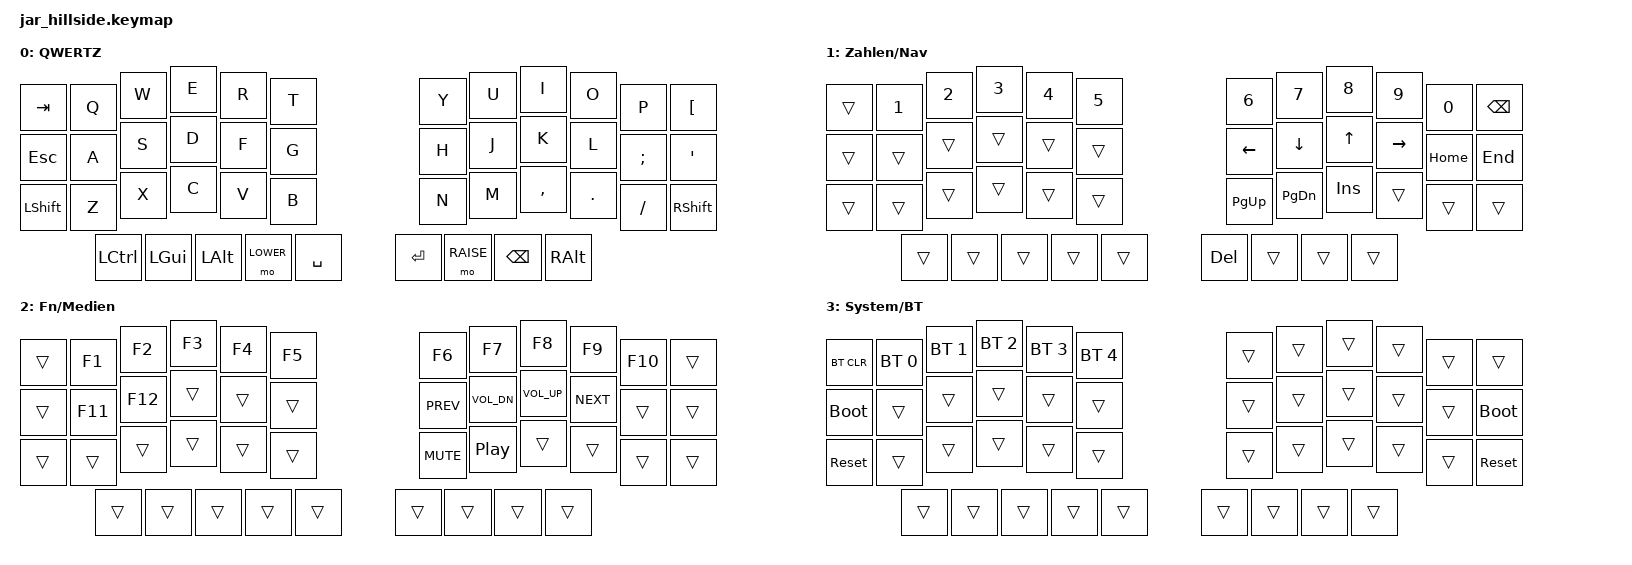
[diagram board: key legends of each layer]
// HillSideView 46 - Keymap
//
// QWERTZ-Basis, ausgelegt fuer ein DEUTSCHES Betriebssystem-Layout.
// ZMK sendet US-HID-Codes; unter deutschem OS-Layout ergeben sich daraus die
// deutschen Zeichen. Deshalb sind Y/Z getauscht und Umlaute ueber US-Tasten:
//   z -> &kp Y     y -> &kp Z
//   ue -> &kp LBKT ("[")     oe -> &kp SEMI (";")     ae -> &kp SQT ("'")
//   ss -> &kp MINUS ("-")    "-" -> &kp FSLH ("/")
// Ist dein OS auf US eingestellt, tippe stattdessen die kommentierten US-Zeichen.

#include <behaviors.dtsi>
#include <dt-bindings/zmk/keys.h>
#include <dt-bindings/zmk/bt.h>

#define BASE   0
#define LOWER  1
#define RAISE  2
#define ADJUST 3

/ {
    // Tri-Layer: LOWER + RAISE gleichzeitig -> ADJUST
    conditional_layers {
        compatible = "zmk,conditional-layers";
        tri {
            if-layers = <LOWER RAISE>;
            then-layer = <ADJUST>;
        };
    };

    keymap {
        compatible = "zmk,keymap";

        base_layer {
            display-name = "QWERTZ";
            // ,-----------------------------------.      ,-----------------------------------.
            // | TAB |  Q |  W |  E |  R |  T |     |      |  Z |  U |  I |  O |  P | UE |
            // | ESC |  A |  S |  D |  F |  G |     |      |  H |  J |  K |  L | OE | AE |
            // | SHFT|  Y |  X |  C |  V |  B |     |      |  N |  M |  , |  . |  - | SHFT|
            //        | CTL| GUI| ALT|LOWR| SPC|      | RET|RAIS| BSP|ALTGR|
            bindings = <
&kp TAB    &kp Q  &kp W  &kp E  &kp R  &kp T        &kp Y  &kp U  &kp I     &kp O   &kp P     &kp LBKT
&kp ESC    &kp A  &kp S  &kp D  &kp F  &kp G        &kp H  &kp J  &kp K     &kp L   &kp SEMI  &kp SQT
&kp LSHFT  &kp Z  &kp X  &kp C  &kp V  &kp B        &kp N  &kp M  &kp COMMA &kp DOT &kp FSLH  &kp RSHFT
        &kp LCTRL &kp LGUI &kp LALT &mo LOWER &kp SPACE    &kp RET &mo RAISE &kp BSPC &kp RALT
            >;
        };

        lower_layer {
            display-name = "Zahlen/Nav";
            // Zahlenreihe oben, Navigationsblock rechts.
            bindings = <
&trans   &kp N1  &kp N2  &kp N3  &kp N4  &kp N5        &kp N6    &kp N7    &kp N8   &kp N9    &kp N0   &kp BSPC
&trans   &trans  &trans  &trans  &trans  &trans        &kp LEFT  &kp DOWN  &kp UP   &kp RIGHT &kp HOME &kp END
&trans   &trans  &trans  &trans  &trans  &trans        &kp PG_UP &kp PG_DN &kp INS  &trans    &trans   &trans
              &trans &trans &trans &trans &trans        &kp DEL   &trans    &trans   &trans
            >;
        };

        raise_layer {
            display-name = "Fn/Medien";
            // Funktionstasten + Medien-/Lautstaerkesteuerung.
            bindings = <
&trans   &kp F1   &kp F2   &kp F3  &kp F4  &kp F5        &kp F6      &kp F7        &kp F8        &kp F9     &kp F10  &trans
&trans   &kp F11  &kp F12  &trans  &trans  &trans        &kp C_PREV  &kp C_VOL_DN  &kp C_VOL_UP  &kp C_NEXT &trans   &trans
&trans   &trans   &trans   &trans  &trans  &trans        &kp C_MUTE  &kp C_PP      &trans        &trans     &trans   &trans
              &trans &trans &trans &trans &trans          &trans      &trans        &trans        &trans
            >;
        };

        adjust_layer {
            display-name = "System/BT";
            // Bluetooth-Profile, Bootloader, Reset. Erreichbar via LOWER+RAISE.
            bindings = <
&bt BT_CLR   &bt BT_SEL 0 &bt BT_SEL 1 &bt BT_SEL 2 &bt BT_SEL 3 &bt BT_SEL 4    &trans &trans &trans &trans &trans &trans
&bootloader  &trans       &trans       &trans       &trans       &trans          &trans &trans &trans &trans &trans &bootloader
&sys_reset   &trans       &trans       &trans       &trans       &trans          &trans &trans &trans &trans &trans &sys_reset
                    &trans &trans &trans &trans &trans                            &trans &trans &trans &trans
            >;
        };
    };
};
